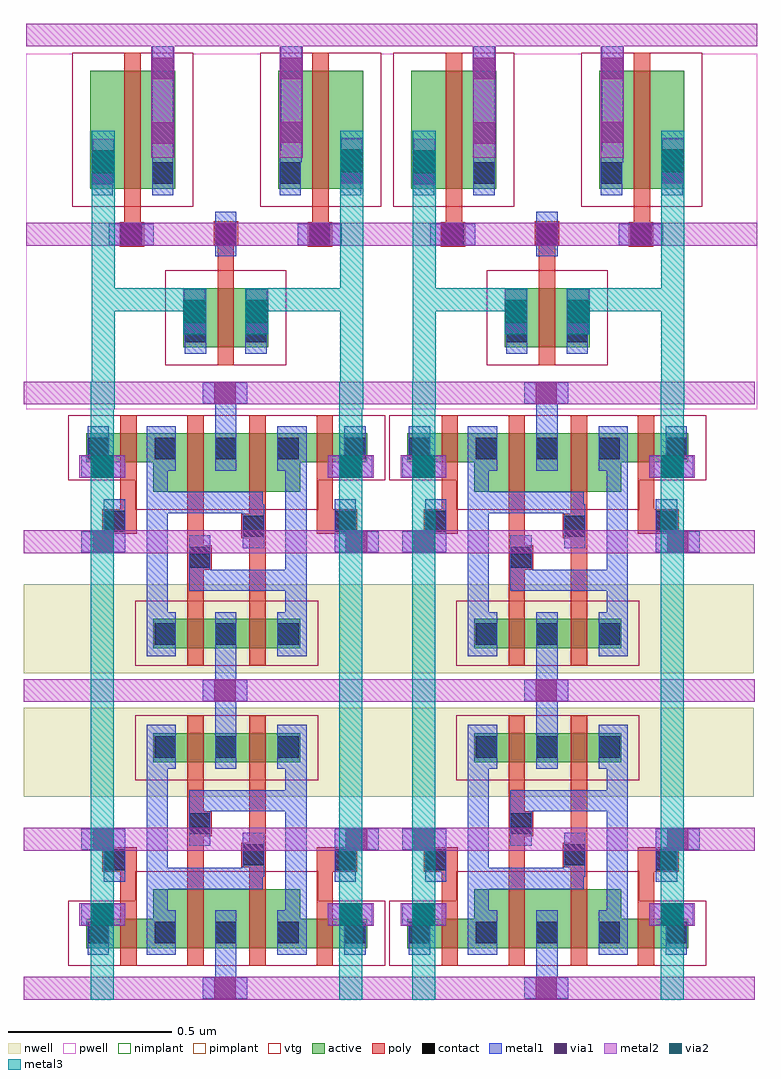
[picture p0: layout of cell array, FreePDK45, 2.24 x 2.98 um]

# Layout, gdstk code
from math import pi, radians
import gdstk
lib = gdstk.Library(unit=1e-6, precision=5e-10)
def R(c, l, rs):  # rectangles x0, y0, x1, y1
    for r in rs: c.add(gdstk.rectangle(r[:2], r[2:], *l))
def A(c, l, x, y, w, h, nx, ny, dx, dy):  # array of equal rectangles
    R(c, l, [(x+i*dx, y+j*dy, x+i*dx+w, y+j*dy+h) for i in range(nx) for j in range(ny)])
active = (1, 0)
pwell = (2, 0)
nwell = (3, 0)
nimplant = (4, 0)
pimplant = (5, 0)
vtg = (6, 0)
poly = (9, 0)
contact = (10, 0)
metal1 = (11, 0)
via1 = (12, 0)
metal2 = (13, 0)
via2 = (14, 0)
metal3 = (15, 0)

dcont_25 = lib.new_cell('dcont_25')
R(dcont_25, active, [(-0.0375,0.03,0.0375,0.105)])
R(dcont_25, contact, [(-0.0325,0.035,0.0325,0.1)])
R(dcont_25, metal1, [(-0.0325,0,0.0325,0.135)])

pmos_vtg_13 = lib.new_cell('pmos_vtg_13')
R(pmos_vtg_13, active, [(-0.07,0,0.155,0.09), (-0.07,0,0,0.09), (0.08,0,0.155,0.09), (0.08,0.01,0.155,0.085)])
R(pmos_vtg_13, nwell, [(-0.125,-0.055,0.21,0.145)])
R(pmos_vtg_13, pimplant, [(-0.07,0,0.155,0.09)])
R(pmos_vtg_13, vtg, [(-0.125,-0.055,0.21,0.145)])
R(pmos_vtg_13, poly, [(0,-0.055,0.05,0), (0,-0.055,0.05,0.145), (0,0.09,0.05,0.145)])
pmos_vtg_13.add(gdstk.Reference(dcont_25, (0.1175,-0.02)))
pmos_vtg_13.add(gdstk.Label('l = 0.05', (0.06,0.045), layer=239, texttype=0))
pmos_vtg_13.add(gdstk.Label('w = 0.09', (0.025,0.155), layer=239, texttype=0))

nmos_vtg_14 = lib.new_cell('nmos_vtg_14')
R(nmos_vtg_14, active, [(-0.07,0,0.155,0.09), (-0.07,0,0,0.09), (0.08,0,0.155,0.09), (0.08,0.01,0.155,0.085)])
R(nmos_vtg_14, pwell, [(-0.125,-0.055,0.21,0.145)])
R(nmos_vtg_14, nimplant, [(-0.07,0,0.155,0.09)])
R(nmos_vtg_14, vtg, [(-0.125,-0.055,0.21,0.145)])
R(nmos_vtg_14, poly, [(0,-0.055,0.05,0), (0,-0.055,0.05,0.145), (0,0.09,0.05,0.145)])
nmos_vtg_14.add(gdstk.Reference(dcont_25, (0.1175,-0.02)))
nmos_vtg_14.add(gdstk.Label('l = 0.05', (0.06,0.045), layer=239, texttype=0))
nmos_vtg_14.add(gdstk.Label('w = 0.09', (0.025,0.155), layer=239, texttype=0))

nmos_vtg_15 = lib.new_cell('nmos_vtg_15')
R(nmos_vtg_15, active, [(-0.07,0,0.155,0.18), (-0.07,0,0,0.18), (0.08,0,0.155,0.18), (0.08,0.01,0.155,0.085)])
R(nmos_vtg_15, pwell, [(-0.125,-0.055,0.21,0.235)])
R(nmos_vtg_15, nimplant, [(-0.07,0,0.155,0.18)])
R(nmos_vtg_15, vtg, [(-0.125,-0.055,0.21,0.235)])
R(nmos_vtg_15, poly, [(0,-0.055,0.05,0), (0,-0.055,0.05,0.235), (0,0.18,0.05,0.235)])
nmos_vtg_15.add(gdstk.Reference(dcont_25, (0.1175,-0.02)))
nmos_vtg_15.add(gdstk.Label('l = 0.05', (0.06,0.09), layer=239, texttype=0))
nmos_vtg_15.add(gdstk.Label('w = 0.18', (0.025,0.245), layer=239, texttype=0))

pcont_2 = lib.new_cell('pcont_2')
R(pcont_2, poly, [(-0.0375,-0.0375,0.0375,0.0375)])
R(pcont_2, contact, [(-0.0325,-0.0325,0.0325,0.0325)])
R(pcont_2, metal1, [(-0.0325,-0.0675,0.0325,0.0675)])

m2_m1_viab = lib.new_cell('M2_M1_viaB')
R(m2_m1_viab, metal1, [(-0.0675,-0.0325,0.0675,0.0325)])
R(m2_m1_viab, via1, [(-0.0325,-0.0325,0.0325,0.0325)])
R(m2_m1_viab, metal2, [(-0.0675,-0.035,0.0675,0.035)])

nmos_vtg_3 = lib.new_cell('nmos_vtg_3')
R(nmos_vtg_3, active, [(-0.105,0,0.155,0.18), (-0.105,0,-0.03,0.18), (0.08,0,0.155,0.18), (-0.105,0.01,-0.03,0.085), (0.08,0.01,0.155,0.085)])
R(nmos_vtg_3, pwell, [(-0.16,-0.055,0.21,0.235)])
R(nmos_vtg_3, nimplant, [(-0.105,0,0.155,0.18)])
R(nmos_vtg_3, vtg, [(-0.16,-0.055,0.21,0.235)])
R(nmos_vtg_3, poly, [(0,-0.055,0.05,0), (0,-0.055,0.05,0.235), (0,0.18,0.05,0.235)])
nmos_vtg_3.add(gdstk.Reference(dcont_25, (0.1175,-0.02)))
nmos_vtg_3.add(gdstk.Reference(dcont_25, (-0.0675,-0.02)))
nmos_vtg_3.add(gdstk.Label('l = 0.05', (0.06,0.09), layer=239, texttype=0))
nmos_vtg_3.add(gdstk.Label('w = 0.18', (0.025,0.245), layer=239, texttype=0))

m3_m2_via = lib.new_cell('M3_M2_via')
R(m3_m2_via, metal2, [(-0.035,-0.07,0.035,0.07)])
R(m3_m2_via, via2, [(-0.035,-0.035,0.035,0.035)])
R(m3_m2_via, metal3, [(-0.07,-0.035,0.07,0.035)])

nmos_vtg_16 = lib.new_cell('nmos_vtg_16')
R(nmos_vtg_16, active, [(-0.105,0,0.12,0.09), (-0.105,0,-0.03,0.09), (0.05,0,0.12,0.09), (-0.105,0.01,-0.03,0.085)])
R(nmos_vtg_16, pwell, [(-0.16,-0.055,0.175,0.145)])
R(nmos_vtg_16, nimplant, [(-0.105,0,0.12,0.09)])
R(nmos_vtg_16, vtg, [(-0.16,-0.055,0.175,0.145)])
R(nmos_vtg_16, poly, [(0,-0.055,0.05,0), (0,-0.055,0.05,0.145), (0,0.09,0.05,0.145)])
nmos_vtg_16.add(gdstk.Reference(dcont_25, (-0.0675,-0.02)))
nmos_vtg_16.add(gdstk.Label('l = 0.05', (0.06,0.045), layer=239, texttype=0))
nmos_vtg_16.add(gdstk.Label('w = 0.09', (0.025,0.155), layer=239, texttype=0))

pmos_vtg_17 = lib.new_cell('pmos_vtg_17')
R(pmos_vtg_17, active, [(-0.105,0,0.155,0.09), (-0.105,0,-0.03,0.09), (0.08,0,0.155,0.09), (-0.105,0.01,-0.03,0.085), (0.08,0.01,0.155,0.085)])
R(pmos_vtg_17, nwell, [(-0.16,-0.055,0.21,0.145)])
R(pmos_vtg_17, pimplant, [(-0.105,0,0.155,0.09)])
R(pmos_vtg_17, vtg, [(-0.16,-0.055,0.21,0.145)])
R(pmos_vtg_17, poly, [(0,-0.055,0.05,0), (0,-0.055,0.05,0.145), (0,0.09,0.05,0.145)])
pmos_vtg_17.add(gdstk.Reference(dcont_25, (0.1175,-0.02)))
pmos_vtg_17.add(gdstk.Reference(dcont_25, (-0.0675,-0.02)))
pmos_vtg_17.add(gdstk.Label('l = 0.05', (0.06,0.045), layer=239, texttype=0))
pmos_vtg_17.add(gdstk.Label('w = 0.09', (0.025,0.155), layer=239, texttype=0))

cell_6t = lib.new_cell('cell_6t')
R(cell_6t, nwell, [(0,0.585,1.25,0.8575)])
R(cell_6t, poly, [(0.295,0.2575,0.345,0.43), (0.895,0.2575,0.945,0.43), (0.5,0.33,0.55,0.6575), (0.69,0.3375,0.74,0.6575)])
R(cell_6t, metal1, [(0.585,-0.0325,0.65,0.1075), (0.375,0.1025,0.44,0.805), (0.8,0.1025,0.865,0.805), (0.395,0.3025,0.73,0.3675), (0.505,0.54,0.8475,0.605), (0.585,0.8,0.65,0.9425)])
A(cell_6t, metal2, 0, -0.035, 1.2525, 0.07, 1, 3, 0, 0.455)
R(cell_6t, metal3, [(0.205,-0.035,0.275,0.945), (0.965,-0.035,1.035,0.945)])
cell_6t.add(gdstk.Reference(pmos_vtg_13, (0.69,0.69)))
cell_6t.add(gdstk.Reference(nmos_vtg_14, (0.895,0.1225)))
cell_6t.add(gdstk.Reference(nmos_vtg_15, (0.69,0.1225)))
cell_6t.add(gdstk.Reference(pcont_2, (0.9825,0.3925), rotation=pi, x_reflection=True))
cell_6t.add(gdstk.Reference(pcont_2, (0.5375,0.5025)))
cell_6t.add(gdstk.Reference(pcont_2, (0.7025,0.4075)))
cell_6t.add(gdstk.Reference(pcont_2, (0.2775,0.3925)))
cell_6t.add(gdstk.Reference(m2_m1_viab, (0.9975,0.225)))
cell_6t.add(gdstk.Reference(m2_m1_viab, (0.2425,0.225)))
cell_6t.add(gdstk.Reference(m2_m1_viab, (1.0175,0.455), rotation=pi, x_reflection=True))
cell_6t.add(gdstk.Reference(m2_m1_viab, (0.615,0)))
cell_6t.add(gdstk.Reference(m2_m1_viab, (0.615,0.91)))
cell_6t.add(gdstk.Reference(m2_m1_viab, (0.2425,0.455)))
cell_6t.add(gdstk.Reference(nmos_vtg_3, (0.5,0.1225)))
cell_6t.add(gdstk.Reference(m3_m2_via, (1,0.225), rotation=pi/2))
cell_6t.add(gdstk.Reference(m3_m2_via, (0.24,0.225), rotation=pi/2))
cell_6t.add(gdstk.Reference(nmos_vtg_16, (0.295,0.1225)))
cell_6t.add(gdstk.Reference(pmos_vtg_17, (0.5,0.69)))

m2_m1_via = lib.new_cell('M2_M1_via')
R(m2_m1_via, metal1, [(-0.0675,-0.0325,0.0675,0.0325)])
R(m2_m1_via, via1, [(-0.0325,-0.0325,0.0325,0.0325)])
R(m2_m1_via, metal2, [(-0.035,-0.0675,0.035,0.0675)])

m2_m1_viac = lib.new_cell('M2_M1_viaC')
R(m2_m1_viac, metal1, [(-0.0325,-0.0675,0.0325,0.0675)])
R(m2_m1_viac, via1, [(-0.0325,-0.0325,0.0325,0.0325)])
R(m2_m1_viac, metal2, [(-0.035,-0.0675,0.035,0.0675)])

m3_m2_viab = lib.new_cell('M3_M2_viaB')
R(m3_m2_viab, metal2, [(-0.035,-0.07,0.035,0.07)])
R(m3_m2_viab, via2, [(-0.035,-0.035,0.035,0.035)])
R(m3_m2_viab, metal3, [(-0.035,-0.07,0.035,0.07)])

nmos_vtg_12 = lib.new_cell('nmos_vtg_12')
R(nmos_vtg_12, active, [(-0.105,0,0.155,0.36), (-0.105,0,-0.03,0.36), (0.08,0,0.155,0.36), (-0.105,0.01,-0.03,0.085), (0.08,0.01,0.155,0.085)])
R(nmos_vtg_12, pwell, [(-0.16,-0.055,0.21,0.415)])
R(nmos_vtg_12, nimplant, [(-0.105,0,0.155,0.36)])
R(nmos_vtg_12, vtg, [(-0.16,-0.055,0.21,0.415)])
R(nmos_vtg_12, poly, [(0,-0.055,0.05,0), (0,-0.055,0.05,0.415), (0,0.36,0.05,0.415)])
nmos_vtg_12.add(gdstk.Reference(dcont_25, (0.1175,-0.02)))
nmos_vtg_12.add(gdstk.Reference(dcont_25, (-0.0675,-0.02)))
nmos_vtg_12.add(gdstk.Label('l = 0.05', (0.06,0.18), layer=239, texttype=0))
nmos_vtg_12.add(gdstk.Label('w = 0.36', (0.025,0.425), layer=239, texttype=0))

precharge = lib.new_cell('precharge')
R(precharge, pwell, [(0.005,-0.0475,1.2575,1.04)])
R(precharge, poly, [(0.59,0.375,0.64,0.4525), (0.305,0.4975,0.355,0.575), (0.88,0.4975,0.93,0.575)])
R(precharge, metal1, [(0.39,0.7075,0.455,0.955), (0.7825,0.7075,0.8475,0.945)])
R(precharge, metal2, [(0.005,0.4525,1.2575,0.5225), (0.3875,0.7225,0.4575,0.9325), (0.78,0.7225,0.85,0.9325), (0.005,1.0625,1.2575,1.1325)])
R(precharge, metal3, [(0.205,-0.0475,0.275,0.805), (0.965,-0.0475,1.035,0.805), (0.26,0.2525,0.4875,0.3225), (0.74,0.2525,0.97,0.3225)])
precharge.add(gdstk.Reference(m2_m1_via, (0.615,0.4875), rotation=pi/2))
precharge.add(gdstk.Reference(m2_m1_viab, (0.9025,0.4875)))
precharge.add(gdstk.Reference(m2_m1_viab, (0.325,0.4875)))
precharge.add(gdstk.Reference(m2_m1_viac, (0.71,0.2525)))
precharge.add(gdstk.Reference(m2_m1_viac, (0.52,0.2525)))
precharge.add(gdstk.Reference(m2_m1_viac, (0.815,0.8)))
precharge.add(gdstk.Reference(m2_m1_viac, (0.4225,0.7975)))
precharge.add(gdstk.Reference(m2_m1_viac, (1,0.7125)))
precharge.add(gdstk.Reference(m2_m1_viac, (0.815,0.995)))
precharge.add(gdstk.Reference(m2_m1_viac, (0.4225,0.995)))
precharge.add(gdstk.Reference(m2_m1_viac, (0.24,0.7125)))
precharge.add(gdstk.Reference(m3_m2_viab, (0.71,0.2525)))
precharge.add(gdstk.Reference(m3_m2_viab, (0.52,0.2525)))
precharge.add(gdstk.Reference(m3_m2_viab, (1,0.7125)))
precharge.add(gdstk.Reference(m3_m2_viab, (0.24,0.71)))
precharge.add(gdstk.Reference(pcont_2, (0.9025,0.4875), rotation=3*pi/2))
precharge.add(gdstk.Reference(pcont_2, (0.615,0.49)))
precharge.add(gdstk.Reference(pcont_2, (0.3275,0.4875), rotation=3*pi/2))
precharge.add(gdstk.Reference(nmos_vtg_3, (0.59,0.1425)))
precharge.add(gdstk.Reference(nmos_vtg_12, (0.305,0.6275)))
precharge.add(gdstk.Reference(nmos_vtg_12, (0.88,0.6275)))

array = lib.new_cell('array')
array.add(gdstk.Reference(cell_6t, (1.4725,3.1175), x_reflection=True))
array.add(gdstk.Reference(cell_6t, (0.49,3.1175), x_reflection=True))
array.add(gdstk.Reference(cell_6t, (1.4725,1.2975)))
array.add(gdstk.Reference(cell_6t, (0.49,1.2975)))
array.add(gdstk.Reference(precharge, (1.475,3.115)))
array.add(gdstk.Reference(precharge, (0.4925,3.115)))

lib.write_gds('array.gds')
